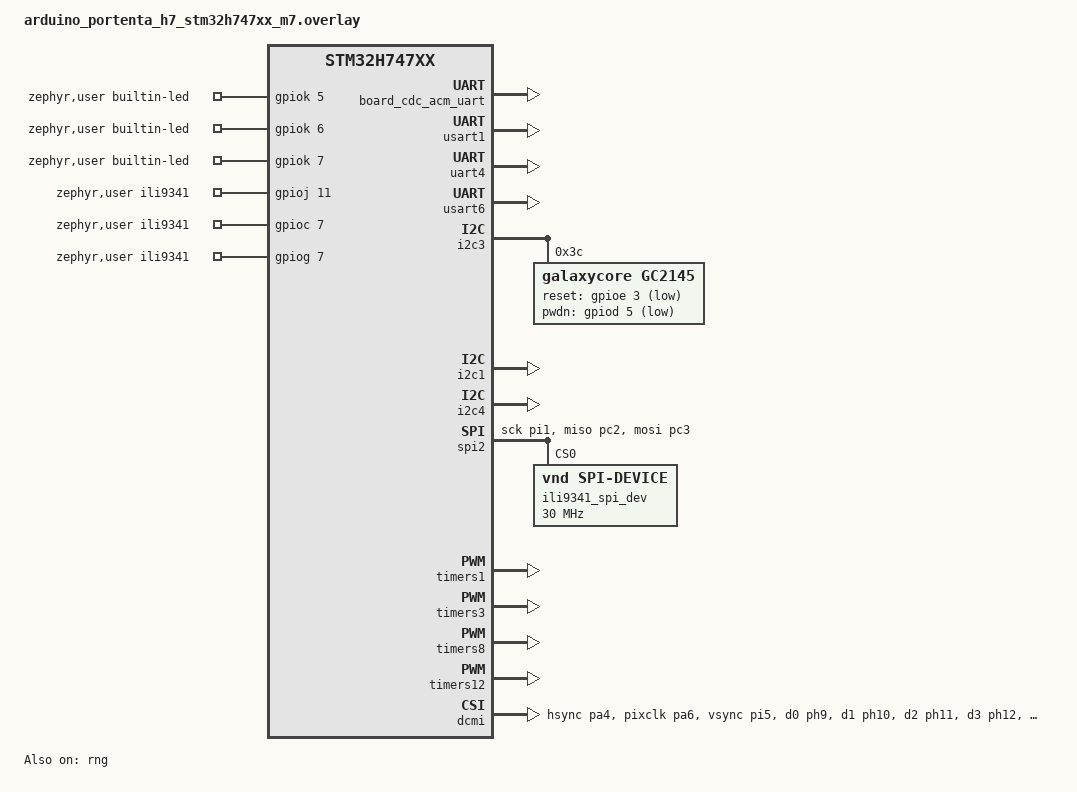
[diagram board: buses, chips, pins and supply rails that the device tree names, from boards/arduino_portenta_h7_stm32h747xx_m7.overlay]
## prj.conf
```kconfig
# INPUT
CONFIG_INPUT=y
CONFIG_VIDEO_WIDTH=320
CONFIG_VIDEO_HEIGHT=240
```

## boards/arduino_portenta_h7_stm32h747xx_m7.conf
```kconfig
CONFIG_USB_DEVICE_STACK=y
CONFIG_USB_DEVICE_PRODUCT="Arduino Portenta H7"
CONFIG_USB_DEVICE_MANUFACTURER="Arduino"
CONFIG_USB_DEVICE_VID=0x2341
CONFIG_USB_DEVICE_PID=0x005b

#CONFIG_USB_CDC_ACM=y
#CONFIG_USB_CDC_ACM_RINGBUF_SIZE=512
#CONFIG_UART_LINE_CTRL=y
#CONFIG_CDC_ACM_DTE_RATE_CALLBACK_SUPPORT=y

CONFIG_LLEXT_STORAGE_WRITABLE=n

CONFIG_SHARED_MULTI_HEAP=y
CONFIG_HEAP_MEM_POOL_SIZE=2048
CONFIG_SHELL_STACK_SIZE=32768
CONFIG_MAIN_STACK_SIZE=32768
CONFIG_LLEXT_HEAP_SIZE=128

CONFIG_FPU=y
CONFIG_ICACHE=y
CONFIG_DCACHE=y
CONFIG_CACHE_MANAGEMENT=y

CONFIG_USERSPACE=n
CONFIG_ARM_MPU=y
CONFIG_MAX_THREAD_BYTES=4

#CONFIG_SHELL_STACK_SIZE=32768
#CONFIG_MAIN_STACK_SIZE=32768
#CONFIG_LLEXT_HEAP_SIZE=128

CONFIG_ADC=y
CONFIG_PWM=y
CONFIG_DMA=y
CONFIG_MEMC=y
CONFIG_SPI=y
CONFIG_SPI_ASYNC=y
CONFIG_SPI_STM32_INTERRUPT=y

CONFIG_NET_CORE_LOG_LEVEL_DBG=y


CONFIG_VIDEO=y
CONFIG_VIDEO_LOG_LEVEL_DBG=n
CONFIG_VIDEO_STM32_DCMI=y
CONFIG_VIDEO_BUFFER_POOL_NUM_MAX=3
CONFIG_VIDEO_BUFFER_POOL_SZ_MAX=614400
CONFIG_VIDEO_BUFFER_POOL_ALIGN=32
CONFIG_VIDEO_BUFFER_USE_SHARED_MULTI_HEAP=y
CONFIG_VIDEO_BUFFER_SMH_ATTRIBUTE=2

CONFIG_FLASH=y
CONFIG_STM32H7_BOOT_M4_AT_INIT=n 
CONFIG_STATIC_INIT_GNU=y
CONFIG_VIDEO_GC2145=y

# from prj.conf... of Arduino
CONFIG_LOG=y
CONFIG_LOG_MODE_IMMEDIATE=y

CONFIG_GPIO=y
CONFIG_PINCTRL=y
CONFIG_I2C=y
CONFIG_SPI=y

#CONFIG_SERIAL=y
#CONFIG_CONSOLE=y
#CONFIG_UART_CONSOLE=y

#CONFIG_FLASH=y
#CONFIG_FLASH_MAP=y

#CONFIG_CPP=y
#CONFIG_STD_CPP17=y
#CONFIG_GLIBCXX_LIBCPP=y
#CONFIG_REQUIRES_FULL_LIBC=y
#CONFIG_CBPRINTF_FP_SUPPORT=y
#CONFIG_USB_DRIVER_LOG_LEVEL_ERR=y
#CONFIG_USB_DEVICE_LOG_LEVEL_ERR=y
```

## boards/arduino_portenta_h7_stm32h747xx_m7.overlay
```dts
/* This is copy of the Arduino setup */
&board_cdc_acm_uart {
	status = "okay";
};

&usart1 {
	status = "okay";
};

&uart4 {
	status = "okay";
};

&usart6 {
	status = "okay";
};

&i2c3 {
	status = "okay";

	gc2145: gc2145@3c {
		compatible = "galaxycore,gc2145";
		reg = <0x3c>;
		status = "okay";

		reset-gpios = <&gpioe 3 GPIO_ACTIVE_LOW>;
		pwdn-gpios = <&gpiod 5 GPIO_ACTIVE_LOW>;

		port {
			gc2145_ep_out: endpoint {
				remote-endpoint-label = "dcmi_ep_in";
			};
		};
	};

};

&i2c1 {
	status = "okay";
};

&i2c4 {
	status = "okay";
};

&spi2 {
	status = "okay";
	pinctrl-0 = <&spi2_sck_pi1
		     &spi2_miso_pc2 &spi2_mosi_pc3>;
	pinctrl-names = "default";
	/* added for sketch */
	ili9341_spi_dev: ili9341_spi_dev@0 {
		status = "okay";
		compatible = "vnd,spi-device";
		reg = <0>;
		spi-max-frequency = <30000000>;
	};

};

&timers1 {
	status = "okay";
	st,prescaler = <0>;

	pwm1: pwm {
		status = "okay";
		pinctrl-0 = <&tim1_ch1_pa8 &tim1_ch2_pj11>;
		pinctrl-names = "default";
	};
};

&timers3 {
	status = "okay";
	st,prescaler = <100>;

	pwm3: pwm {
		status = "okay";
		pinctrl-0 = <&tim3_ch1_pc6 &tim3_ch2_pc7>;
		pinctrl-names = "default";
	};
};

&timers8 {
	status = "okay";
	st,prescaler = <100>;

	pwm8: pwm {
		status = "okay";
		pinctrl-0 = <&tim8_ch3n_ph15 &tim8_ch2_pj10 &tim8_ch2n_pj7>;
		pinctrl-names = "default";
	};
};

&timers12 {
	status = "okay";
	st,prescaler = <100>;

	pwm12: pwm {
		status = "okay";
		pinctrl-0 = <&tim12_ch1_ph6>;
		pinctrl-names = "default";
	};
};

&pwm1 {
	/* Camera source clock */
	pwmclock: pwmclock {
		status = "okay";
		compatible = "pwm-clock";
		clock-frequency = <0>;
		#clock-cells = <1>;
		pwms = <&pwm1 1 PWM_HZ(10000000) PWM_POLARITY_NORMAL>;
		/* 12MHz for 7670, default is also 12MHz */
	};
};

&rng {
	status = "okay";
};

&dmamux1 {
	status = "okay";
};

&dma1 {
	status = "okay";
};

&dcmi {
	status = "okay";
	/* ext-sdram = <&sdram1>; */
	pinctrl-0 = <&dcmi_hsync_pa4 &dcmi_pixclk_pa6 &dcmi_vsync_pi5
		     &dcmi_d0_ph9 &dcmi_d1_ph10 &dcmi_d2_ph11 &dcmi_d3_ph12
		     &dcmi_d4_ph14 &dcmi_d5_pi4 &dcmi_d6_pi6 &dcmi_d7_pi7>;
	pinctrl-names = "default";
	dmas = <&dma1 0 75 (STM32_DMA_PERIPH_TO_MEMORY | STM32_DMA_PERIPH_NO_INC |
			    STM32_DMA_MEM_INC | STM32_DMA_PERIPH_32BITS | STM32_DMA_MEM_32BITS |
			    STM32_DMA_PRIORITY_HIGH) STM32_DMA_FIFO_1_4>; //FULL for 7670, default FIFO_1_4

	port {
		dcmi_ep_in: endpoint {
			remote-endpoint-label = "gc2145_ep_out";
			bus-width = <8>;
			hsync-active = <0>;
			vsync-active = <0>;
			pclk-sample = <0>;
		};
	};
};


/ {
	chosen {
		zephyr,camera = &dcmi;
		zephyr,console = &usart6;
		zephyr,shell-uart = &usart6;
		zephyr,cdc-acm-uart0 = &usart6;
	};

};


/ {
	zephyr,user {
		builtin-led-gpios = <&gpiok 5 0>,
				    <&gpiok 6 0>,
				    <&gpiok 7 0>;

	};
};

/* This apps setup */
/ {

	zephyr,user {
		ili9341-gpios = <&gpioj 11 GPIO_ACTIVE_HIGH>,	/* CS D2 */
						<&gpioc 7 GPIO_ACTIVE_HIGH>,	/* DC D4 */
						<&gpiog 7 GPIO_ACTIVE_HIGH>;	/* RST D3 */
						/* <&gpio1 30 GPIO_ACTIVE_LOW>;	touch cs Pin 26 */

	};
	
	chosen {


	};
};
```

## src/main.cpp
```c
/*
 * Copyright (c) 2019 Intel Corporation
 *
 * SPDX-License-Identifier: Apache-2.0
 */

/**
 * @file
 * @brief Sample echo app for CDC ACM class
 *
 * Sample app for USB CDC ACM class driver. The received data is echoed back
 * to the serial port.
 */

//#include <sample_usbd.h>
// Turn on this option, to test to ee if camera errors out without screeen
//#define TIMED_WAIT_NO_TFT (1000/6)

// Try using fixed normal memory buffer for display
//#define ILI9341_USE_FIXED_BUFFER
// Hack try to use fixed buffer for camera
#define CAMERA_USE_FIXED_BUFFER

#define USE_ST7796

#include <stdio.h>
#include <string.h>
#include <zephyr/device.h>
#include <zephyr/drivers/uart.h>
#include <zephyr/kernel.h>
#include <zephyr/sys/ring_buffer.h>
#include <zephyr/drivers/clock_control.h>

#include <zephyr/usb/usb_device.h>
#include <zephyr/usb/usbd.h>
#include <zephyr/logging/log.h>
#include <zephyr/drivers/gpio.h>
#include <zephyr/input/input.h>

LOG_MODULE_REGISTER(main, LOG_LEVEL_INF);
#include "USBSerialDevice.h"

#include "UARTDevice.h"
#include "ILI9341_GIGA_zephyr.h"

#include "ST77XX_zephyr.h"

#include <zephyr/drivers/video.h>
#include <zephyr/drivers/video-controls.h>
#include <zephyr/devicetree.h>
#include <zephyr/multi_heap/shared_multi_heap.h>


#if !defined(CONFIG_BOARD_ARDUINO_PORTENTA_H7)
#define ATP
//#define PJRC
#endif

const struct device *const usb_uart_dev = DEVICE_DT_GET_ONE(zephyr_cdc_acm_uart);
//const struct device *const serial_dev = DEVICE_DT_GET(DT_CHOSEN(uart_passthrough));
//const struct device *const generic_tft_spi =  DEVICE_DT_GET(DT_CHOSEN(spi_ili9341));
#define SPI_OP (SPI_WORD_SET(8) | SPI_OP_MODE_MASTER | SPI_TRANSFER_MSB )

#if defined(ATP)
static struct spi_dt_spec generic_tft_spi =
	SPI_DT_SPEC_GET(DT_NODELABEL(ili9341atp_spi_dev), SPI_OP, 0);
#elif defined(PJRC)
static struct spi_dt_spec generic_tft_spi =
	SPI_DT_SPEC_GET(DT_NODELABEL(ili9341prjc_spi_dev), SPI_OP, 0);
#else
static struct spi_dt_spec generic_tft_spi =
	SPI_DT_SPEC_GET(DT_NODELABEL(generic_tft_spi_dev), SPI_OP, 0);
#endif



inline int min(int a, int b) {
	return (a <= b)? a : b;
}

inline void delay(uint32_t ms) {
	k_sleep(K_MSEC(ms));
}

// Need to do this.
unsigned long micros(void) {
#ifdef CONFIG_TIMER_HAS_64BIT_CYCLE_COUNTER
  return k_cyc_to_us_floor32(k_cycle_get_64());
#else
  return k_cyc_to_us_floor32(k_cycle_get_32());
#endif
 }

#if defined(ATP)
static const struct gpio_dt_spec generic_tft_pins[] = {DT_FOREACH_PROP_ELEM_SEP(
    DT_PATH(zephyr_user), ili9341atp_gpios, GPIO_DT_SPEC_GET_BY_IDX, (, ))};
#elif defined(PJRC)
static const struct gpio_dt_spec generic_tft_pins[] = {DT_FOREACH_PROP_ELEM_SEP(
    DT_PATH(zephyr_user), ili9341pjrc_gpios, GPIO_DT_SPEC_GET_BY_IDX, (, ))};
#else
static const struct gpio_dt_spec generic_tft_pins[] = {DT_FOREACH_PROP_ELEM_SEP(
    DT_PATH(zephyr_user), generic_tft_gpios, GPIO_DT_SPEC_GET_BY_IDX, (, ))};
#endif

#ifdef USE_ST7796
ST7796_zephyr tft(&generic_tft_spi, &generic_tft_pins[0], &generic_tft_pins[1], &generic_tft_pins[2]);
#else
ILI9341_GIGA_n tft(&generic_tft_spi, &generic_tft_pins[0], &generic_tft_pins[1], &generic_tft_pins[2]);
#endif

// Camera/Video global variables.
struct video_buffer *buffers[CONFIG_VIDEO_BUFFER_POOL_NUM_MAX];
struct video_buffer *vbuf = nullptr;
const struct device *video_dev;


// map() transforms input "x" from one numerical range to another.  For example, if
extern void WaitForUserInput(uint32_t timeout);
extern void show_all_gpio_regs();
extern void initialize_display();
extern int initialize_video();
extern void	draw_scaled_up_image(uint16_t *pixels);


#if defined(ILI9341_USE_FIXED_BUFFER) || defined(CAMERA_USE_FIXED_BUFFER)
uint16_t frame_buffer[CONFIG_VIDEO_WIDTH*CONFIG_VIDEO_HEIGHT];
#endif



int main(void)
{

	int ret;

	// Start up the Serial
	USBSerial.begin();
	//SerialX.begin();
	USBSerial.println("Camera capture...");

	// initialize the display
	initialize_display();

	initialize_video();

	// show all registers
//	show_all_gpio_regs();
	int frame_count = 0;
	uint32_t read_frame_sum = 0;
	uint32_t write_rect_sum = 0;
	int sum_count = 0;
	bool scale_up = false;

	printk("Starting main loop\n");
    for (;;) {
		if (USBSerial.available()) {
			while (USBSerial.read() != -1) {}
			USBSerial.println("*** Paused ***");
			int ch;
			while ((ch = USBSerial.read()) == -1) {} 
			//if (ch == 'r') {
			//	print_camera_registers();
			//}
			if (ch == 's') {
				scale_up = !scale_up;
			}	
			while (USBSerial.read() != -1) {}
			continue;
		}

		int err;
		frame_count++;
		uint32_t start_time = micros();
		err = video_dequeue(video_dev, &vbuf, K_MSEC(10000));
		read_frame_sum += (micros() - start_time);
		//printk("Dequeue: %lu\n", micros() - start_time);
		if (err) {
			printk("ERROR: Unable to dequeue video buf\n");
	  		k_sleep(K_MSEC(1000));
	  		continue;
		}
		// We need to byte swap here...
#ifdef TIMED_WAIT_NO_TFT
		USBSerial.println(frame_count);
		delay(TIMED_WAIT_NO_TFT);

#elif defined(ILI9341_USE_FIXED_BUFFER)
        uint16_t *pixels = (uint16_t *) vbuf->buffer;
        for (size_t i=0; i < (CONFIG_VIDEO_WIDTH*CONFIG_VIDEO_HEIGHT); i++) {
            frame_buffer[i] = __REVSH(pixels[i]);
        }

		start_time = micros();
		tft.writeRect(0, 0, CONFIG_VIDEO_WIDTH, CONFIG_VIDEO_HEIGHT, frame_buffer);
		printk("writeRect: %d %lu\n", frame_count, micros() - start_time);

#else
        uint16_t *pixels = (uint16_t *) vbuf->buffer;
        for (size_t i=0; i < (CONFIG_VIDEO_WIDTH*CONFIG_VIDEO_HEIGHT); i++) {
            pixels[i] = __REVSH(pixels[i]);
        }

		start_time = micros();
		if (scale_up) {
			draw_scaled_up_image((uint16_t*)vbuf->buffer);
		} else {
			tft.writeRect(0, 0, CONFIG_VIDEO_WIDTH, CONFIG_VIDEO_HEIGHT, (uint16_t*)vbuf->buffer);
		}
		write_rect_sum += micros() - start_time;
		//printk("writeRect: %d %lu\n", frame_count, micros() - start_time);
#endif

		err = video_enqueue(video_dev, vbuf);
		if (err) {
			printk("ERROR: Unable to requeue video buf\n");
			continue;
		}

		sum_count++;
		if (sum_count == 10) {
			USBSerial.printf("%d %u RD: %u %u WR: %u %u\n", frame_count, sum_count, read_frame_sum, read_frame_sum / sum_count, write_rect_sum, write_rect_sum / sum_count);
			sum_count = 0;
			read_frame_sum = 0;
			write_rect_sum = 0;
		}

  	}
	return 0;
}

//----------------------------------------------------------------------------------
// iniitialize the display and do some graphic outputs to just to make sure it
// is working
//----------------------------------------------------------------------------------
void initialize_display() {
	//tft.setDebugUART(&USBSerial);
#ifdef USE_ST7796
  tft.begin();
  tft.setRotation(1);
#else
	tft.begin();
	tft.setRotation(1);
#endif	

	tft.fillScreen(ILI9341_BLACK);
	k_sleep(K_MSEC(500));
	tft.fillScreen(ILI9341_RED);
	k_sleep(K_MSEC(500));
	tft.fillScreen(ILI9341_GREEN);
	k_sleep(K_MSEC(500));
	tft.fillScreen(ILI9341_BLUE);
	k_sleep(K_MSEC(500));
	tft.fillScreen(ILI9341_WHITE);

//	WaitForUserInput(1000);
	tft.fillScreen(ILI9341_BLACK);
	uint32_t t0 = micros();
	tft.fillRectHGradient(10, 10, 100, 100, tft.color565(0 << 3, 0, 0), tft.color565(9 << 3, 0, 0));
	uint32_t t1 = micros();
	tft.fillRectHGradient(130, 10, 100, 100, ILI9341_YELLOW, ILI9341_GREEN);
	uint32_t t2 = micros();
	tft.fillRectVGradient(10, 130, 100, 100, tft.color565(0, 0, 0 << 3), tft.color565(0, 0, 9 << 3));
	uint32_t t3 = micros();
	tft.fillRectVGradient(130, 130, 100, 100, ILI9341_CYAN, ILI9341_BLUE);
	uint32_t t4 = micros();
	USBSerial.printf("%u: %u %u %u %u\n", t4-t0, t1-t0, t2-t1, t3-t2, t4-t3);
	k_sleep(K_MSEC(500));
//	WaitForUserInput(2000);


}

//----------------------------------------------------------------------------------
// iniitialize the camera/video
//----------------------------------------------------------------------------------
int initialize_video() {
	struct video_format fmt;
	struct video_caps caps;
	enum video_buf_type type = VIDEO_BUF_TYPE_OUTPUT;
	size_t bsize;
	int i = 0;
	int ret = 0;

	// lets get camera information
	video_dev = DEVICE_DT_GET(DT_CHOSEN(zephyr_camera));
	if (!device_is_ready(video_dev)) {
		printk("ERROR: %s device is not ready\n",  video_dev->name);
		return 0;
	}

	printk("INFO: - Device name: %s\n",  video_dev->name);

	/* Get capabilities */
	caps.type = type;
	if (video_get_caps(video_dev, &caps)) {
		printk("ERROR: Unable to retrieve video capabilities\n") ;
		return 0;
	}

	printk("INFO: - Capabilities:\n") ;
	while (caps.format_caps[i].pixelformat) {
		const struct video_format_cap *fcap = &caps.format_caps[i];
		/* four %c to string */
		printk("INFO:   %c%c%c%c width [%u; %u; %u] height [%u; %u; %u]\n", 
			(char)fcap->pixelformat, (char)(fcap->pixelformat >> 8),
			(char)(fcap->pixelformat >> 16), (char)(fcap->pixelformat >> 24),
			fcap->width_min, fcap->width_max, fcap->width_step, fcap->height_min,
			fcap->height_max, fcap->height_step);
		i++;
	}

	/* Get default/native format */
	fmt.type = type;
	if (video_get_format(video_dev, &fmt)) {
		printk("ERROR: Unable to retrieve video format\n") ;
		return 0;
	}
	printk("video_get_format returned: %u %u %x\n", fmt.width, fmt.height, fmt.pixelformat);
	/* Set format */
	fmt.width = CONFIG_VIDEO_WIDTH;
	fmt.height = CONFIG_VIDEO_HEIGHT;
	fmt.pixelformat = VIDEO_PIX_FMT_RGB565;
	printk("updated to: %u %u %x\n", fmt.width, fmt.height, fmt.pixelformat);

	if (video_set_format(video_dev, &fmt)) {
		printk("ERROR: Unable to set up video format\n") ;
		return 0;
	}

	printk("INFO: - Format: %c%c%c%c %ux%u %u\n",   (char)fmt.pixelformat, (char)(fmt.pixelformat >> 8),
		(char)(fmt.pixelformat >> 16), (char)(fmt.pixelformat >> 24), fmt.width, fmt.height,
		fmt.pitch);

	if (caps.min_line_count != LINE_COUNT_HEIGHT) {
		printk("ERROR: Partial framebuffers not supported by this sample\n") ;
		return 0;
	}
	/* Size to allocate for each buffer */
	bsize = fmt.pitch * fmt.height;

	/* Alloc video buffers and enqueue for capture */
	printk("Initialze video buffer list (%u)\n",  ARRAY_SIZE(buffers));
	for (i = 0; i < ARRAY_SIZE(buffers); i++) {
		buffers[i] = video_buffer_aligned_alloc(bsize, CONFIG_VIDEO_BUFFER_POOL_ALIGN,
							K_FOREVER);
		#ifdef CAMERA_USE_FIXED_BUFFER
		if ((i == 0) &&  (buffers[i] != NULL)) {
			// REAL hack change the buffer over to our fixed buffer...
			buffers[i]->buffer = (uint8_t *)frame_buffer;
		}
		#endif

		printk("  %d:%x\n", i, (uint32_t)buffers[i]);
		if (buffers[i] == NULL) {
			printk("ERROR: Unable to alloc video buffer\n") ;
			return 0;
		}
		buffers[i]->type = type;
		video_enqueue(video_dev, buffers[i]);
	}
	/* Set controls */

	struct video_control ctrl = {.id = VIDEO_CID_HFLIP, .val = 1};

	if (IS_ENABLED(CONFIG_VIDEO_HFLIP)) {
		video_set_ctrl(video_dev, &ctrl);
	}

	if (IS_ENABLED(CONFIG_VIDEO_VFLIP)) {
		ctrl.id = VIDEO_CID_VFLIP;
		video_set_ctrl(video_dev, &ctrl);
	}

	/* Start video capture */
	printk("Starting  capture\n");
	if (video_stream_start(video_dev, type)) {
		printk("ERROR: Unable to start capture (interface)\n") ;
		return 0;
	}

	// Lets see if we can call video_get_selection
	printk("Get Video Selection:\n");
	struct video_selection vsel;
	vsel.type = VIDEO_BUF_TYPE_OUTPUT;
	vsel.target = VIDEO_SEL_TGT_NATIVE_SIZE; 
	if ((ret = video_get_selection(video_dev, &vsel))!= 0) {
		printk("ERROR: %d\n", ret) ;
		return 0;
	} else {
		printk("\tTy:%d Tar:%d R:%u %u %u %u\n", vsel.type, vsel.target,
			vsel.rect.left, vsel.rect.top, vsel.rect.width, vsel.rect.height);
	}


	return 1;

}
uint16_t rows_buffer[480*3];
void draw_scaled_up_image(uint16_t *pixels) {
	// quick and dirty 1.5 scale up
	uint16_t *pixels_row = pixels;
	uint16_t tft_width = tft.width();
	uint16_t tft_height = tft.height();
	uint8_t write_height = 3;
	for (int row = 0; row < tft_height; row += write_height) {
		uint16_t *pixel = pixels_row;
		if ((row + write_height) >= tft_height) {
			write_height = (tft_height - row);
		}
		for (int col = 0; col < tft_width; col += 3) {
			rows_buffer[col] = pixel[0];
			rows_buffer[col+1] = pixel[0];
			rows_buffer[col+2] = pixel[1];
			rows_buffer[tft_width + col] = pixel[0];
			rows_buffer[tft_width + col + 1] = pixel[CONFIG_VIDEO_WIDTH];
			rows_buffer[tft_width + col + 2] = pixel[1];

			rows_buffer[2 * tft_width + col] = pixel[CONFIG_VIDEO_WIDTH];
			rows_buffer[2 * tft_width + col + 1] = pixel[CONFIG_VIDEO_WIDTH];
			rows_buffer[2 * tft_width + col + 2] = pixel[CONFIG_VIDEO_WIDTH + 1];
			pixel += 2;
		}
		tft.writeRect(0, row, tft_width, write_height, rows_buffer);
		pixels_row += 2 * CONFIG_VIDEO_WIDTH;
	}


}

//----------------------------------------------------------------------------------
//----------------------------------------------------------------------------------
extern unsigned long millis(void);

unsigned long millis(void) { return k_uptime_get_32(); }

void WaitForUserInput(uint32_t timeout) {
    USBSerial.print("Hit key to continue\n");
    uint32_t time_start = millis();
    while ((USBSerial.read() == -1) && ((uint32_t)(millis() - time_start)  < timeout)) ;
    while (USBSerial.read() != -1) ;
    USBSerial.print("Done!\n");
}

void print_gpio_regs(const char *name, GPIO_TypeDef *port) {
  //printk("GPIO%s(%p) %08X %08X %08x\n", name, port, port->MODER, port->AFR[0], port->AFR[1]);
  USBSerial.print("GPIO");
  USBSerial.print(name);
  USBSerial.print(" ");
  USBSerial.print(port->MODER, HEX);
  USBSerial.print(" ");
  USBSerial.print(port->AFR[0], HEX);
  USBSerial.print(" ");
  USBSerial.println(port->AFR[1], HEX);
}

void print_PinConfig(const char *name, GPIO_TypeDef *port, const char *regName) {
  uint32_t reg = 0;
  uint8_t numPins = 0;
  uint8_t numBits = 0;
  uint8_t hack = 0;
  USBSerial.print("GPIO");
  USBSerial.print(name);
  USBSerial.print(" ");
  if(strcmp(regName, "M") == 0) {
    USBSerial.print("MODER: ");
    numPins = 16;
    numBits = 2;
    hack = 0;
    reg = port->MODER;
  } else if(strcmp (regName , "AL") == 0) {
    USBSerial.print("AFRL");
    numPins = 8;
    numBits = 4;
    hack = 0;
    reg = port->AFR[0];
  } else {
    USBSerial.print("AFRH");
    numPins = 8;
    numBits = 4;
    hack = 1;
    reg = port->AFR[1];
  }


  for(uint8_t i = 0; i < numPins; i++) {
    unsigned  mask;
    //mask = ((1 << numBits2Extract) << startBit)
    mask = ((1 << numBits) - 1) << (i*numBits);
    //extractedBits = (value & mask) >> startBit
    uint8_t extractedBits = (reg & mask) >> (i*numBits);
    USBSerial.print("("); USBSerial.print(i+(hack*8)); USBSerial.print(")"); 
    USBSerial.print(extractedBits); USBSerial.print(", ");
  }
  USBSerial.println();
}

void show_all_gpio_regs() {
  print_gpio_regs("A", (GPIO_TypeDef *)GPIOA_BASE);
  print_PinConfig("A", (GPIO_TypeDef *)GPIOC_BASE, "M");
  print_PinConfig("A", (GPIO_TypeDef *)GPIOC_BASE, "AL");
  print_PinConfig("A", (GPIO_TypeDef *)GPIOC_BASE, "AH");

  print_gpio_regs("B", (GPIO_TypeDef *)GPIOB_BASE);
  print_gpio_regs("C", (GPIO_TypeDef *)GPIOC_BASE);
  print_PinConfig("C", (GPIO_TypeDef *)GPIOC_BASE, "M");
  print_PinConfig("C", (GPIO_TypeDef *)GPIOC_BASE, "AL");
  print_PinConfig("C", (GPIO_TypeDef *)GPIOC_BASE, "AH");

  print_gpio_regs("D", (GPIO_TypeDef *)GPIOD_BASE);
  print_gpio_regs("E", (GPIO_TypeDef *)GPIOE_BASE);
  print_gpio_regs("F", (GPIO_TypeDef *)GPIOF_BASE);
  print_gpio_regs("G", (GPIO_TypeDef *)GPIOG_BASE);
  print_gpio_regs("H", (GPIO_TypeDef *)GPIOH_BASE);
  print_gpio_regs("I", (GPIO_TypeDef *)GPIOI_BASE);
  print_gpio_regs("J", (GPIO_TypeDef *)GPIOJ_BASE);
  print_gpio_regs("K", (GPIO_TypeDef *)GPIOK_BASE);
}


//----------------------------------------------------------------------------------
//----------------------------------------------------------------------------------
extern "C" {

int camera_ext_clock_enable(void)
{
	int ret;
	uint32_t rate;

	const struct device *cam_ext_clk_dev = DEVICE_DT_GET(DT_NODELABEL(pwmclock));

	if (!device_is_ready(cam_ext_clk_dev)) {
		return -ENODEV;
	}

	ret = clock_control_on(cam_ext_clk_dev, (clock_control_subsys_t)0);
	if (ret < 0) {
		return ret;
	}

	ret = clock_control_get_rate(cam_ext_clk_dev, (clock_control_subsys_t)0, &rate);
	if (ret < 0) {
		return ret;
	}

	return 0;
}

SYS_INIT(camera_ext_clock_enable, POST_KERNEL, CONFIG_CLOCK_CONTROL_PWM_INIT_PRIORITY);

//----------------------------------------------------------------------------------
//----------------------------------------------------------------------------------

Z_GENERIC_SECTION(SDRAM1) static uint8_t __aligned(32) smh_pool[4*1024*1024];

int smh_init(void) {
    int ret = 0;
    ret = shared_multi_heap_pool_init();
    if (ret != 0) {
        return ret;
    }

    struct shared_multi_heap_region smh_sdram = {
        .attr = SMH_REG_ATTR_EXTERNAL,
        .addr = (uintptr_t) smh_pool,
        .size = sizeof(smh_pool)
    };

    ret = shared_multi_heap_add(&smh_sdram, NULL);
    if (ret != 0) {
        return ret;
    }
	return 0;
}

SYS_INIT(smh_init, POST_KERNEL, CONFIG_KERNEL_INIT_PRIORITY_DEFAULT);

} // extern c

//----------------------------------------------------------------------------------
//----------------------------------------------------------------------------------
```
